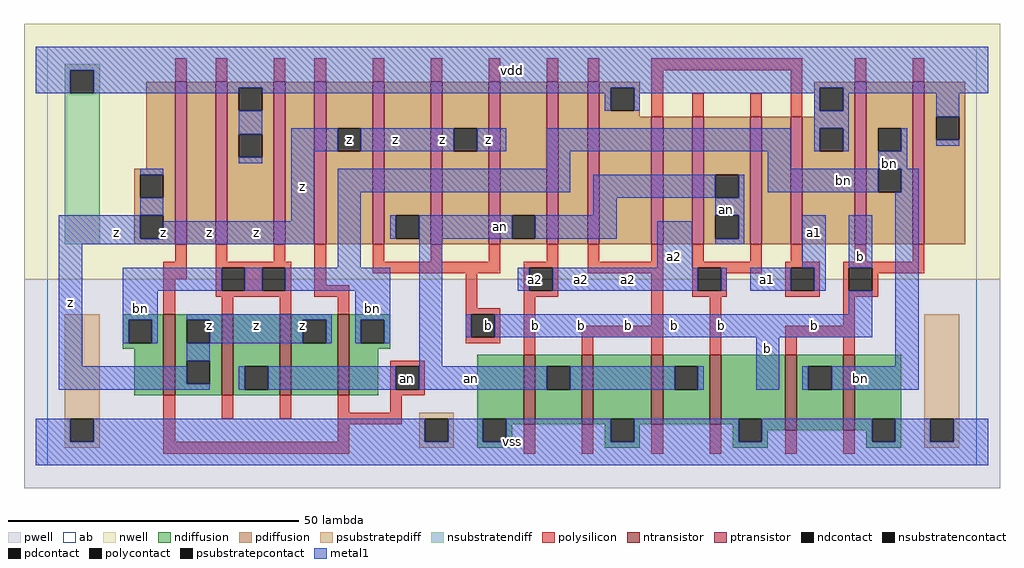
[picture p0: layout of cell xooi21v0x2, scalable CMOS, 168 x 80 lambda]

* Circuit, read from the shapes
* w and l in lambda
.subckt xooi21v0x2 a1 a2 an b bn vdd vss z
M1 z an bn vss nfet w=14 l=2 m=2
M2 an bn z vss nfet w=14 l=2 m=2
M3 an a2 vss vss nfet w=12 l=2 m=2
M4 vss a1 an vss nfet w=12 l=2 m=2
M5 bn b vss vss nfet w=13 l=2 m=2
M6 n1 an z vdd pfet w=28 l=2
M7 vdd bn n1 vdd pfet w=28 l=2
M8 n2 bn vdd vdd pfet w=28 l=2
M9 z an n2 vdd pfet w=28 l=2
M10 an b z vdd pfet w=28 l=2 m=3
M11 n3 a2 an vdd pfet w=28 l=2
M12 vdd a1 n3 vdd pfet w=28 l=2
M13 n4 a1 vdd vdd pfet w=22 l=2
M14 an a2 n4 vdd pfet w=22 l=2
M15 n5 a2 an vdd pfet w=22 l=2
M16 vdd a1 n5 vdd pfet w=22 l=2
M17 bn b vdd vdd pfet w=28 l=2 m=2
.ends

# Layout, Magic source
magic
tech scmos
<< ab >>
rect 0 0 160 72
<< pwell >>
rect -4 -4 164 32
<< nwell >>
rect -4 32 164 76
<< polysilicon >>
rect 22 66 24 70
rect 29 66 31 70
rect 39 66 41 70
rect 46 66 48 70
rect 56 66 58 70
rect 66 66 68 70
rect 76 66 78 70
rect 86 66 88 70
rect 93 66 95 70
rect 104 68 130 70
rect 104 60 106 68
rect 111 60 113 64
rect 121 60 123 64
rect 128 60 130 68
rect 139 66 141 70
rect 149 66 151 70
rect 22 35 24 38
rect 20 32 24 35
rect 29 35 31 38
rect 39 35 41 38
rect 29 34 42 35
rect 20 26 22 32
rect 29 30 30 34
rect 34 30 37 34
rect 41 30 42 34
rect 29 29 42 30
rect 46 31 48 38
rect 56 35 58 38
rect 66 35 68 38
rect 76 35 78 38
rect 86 35 88 38
rect 56 33 78 35
rect 82 34 88 35
rect 46 29 52 31
rect 30 26 32 29
rect 40 26 42 29
rect 50 26 52 29
rect 72 27 74 33
rect 82 30 83 34
rect 87 30 88 34
rect 93 35 95 38
rect 104 35 106 38
rect 93 33 106 35
rect 82 29 88 30
rect 72 26 78 27
rect 72 22 73 26
rect 77 22 78 26
rect 72 21 78 22
rect 82 19 84 29
rect 104 24 106 33
rect 111 35 113 38
rect 121 35 123 38
rect 128 35 130 38
rect 139 35 141 38
rect 149 35 151 38
rect 111 34 123 35
rect 111 30 112 34
rect 116 33 123 34
rect 127 34 133 35
rect 116 30 117 33
rect 111 29 117 30
rect 127 30 128 34
rect 132 30 133 34
rect 127 29 133 30
rect 137 34 151 35
rect 137 30 138 34
rect 142 33 151 34
rect 142 30 143 33
rect 137 29 143 30
rect 92 22 106 24
rect 92 19 94 22
rect 104 19 106 22
rect 114 19 116 29
rect 137 24 139 29
rect 127 22 139 24
rect 127 19 129 22
rect 137 19 139 22
rect 59 17 65 18
rect 59 13 60 17
rect 64 13 65 17
rect 59 12 65 13
rect 20 4 22 12
rect 30 8 32 12
rect 40 8 42 12
rect 50 9 52 12
rect 59 9 61 12
rect 50 7 61 9
rect 50 4 52 7
rect 20 2 52 4
rect 82 2 84 7
rect 92 2 94 7
rect 104 2 106 7
rect 114 2 116 7
rect 127 2 129 6
rect 137 2 139 6
<< ndiffusion >>
rect 13 25 20 26
rect 13 21 14 25
rect 18 21 20 25
rect 13 20 20 21
rect 15 12 20 20
rect 22 25 30 26
rect 22 21 24 25
rect 28 21 30 25
rect 22 18 30 21
rect 22 14 24 18
rect 28 14 30 18
rect 22 12 30 14
rect 32 17 40 26
rect 32 13 34 17
rect 38 13 40 17
rect 32 12 40 13
rect 42 25 50 26
rect 42 21 44 25
rect 48 21 50 25
rect 42 12 50 21
rect 52 25 59 26
rect 52 21 54 25
rect 58 21 59 25
rect 52 20 59 21
rect 52 12 57 20
rect 74 8 82 19
rect 74 4 75 8
rect 79 7 82 8
rect 84 17 92 19
rect 84 13 86 17
rect 90 13 92 17
rect 84 7 92 13
rect 94 8 104 19
rect 94 7 97 8
rect 79 4 80 7
rect 74 3 80 4
rect 96 4 97 7
rect 101 7 104 8
rect 106 17 114 19
rect 106 13 108 17
rect 112 13 114 17
rect 106 7 114 13
rect 116 8 127 19
rect 116 7 119 8
rect 101 4 102 7
rect 96 3 102 4
rect 118 4 119 7
rect 123 6 127 8
rect 129 17 137 19
rect 129 13 131 17
rect 135 13 137 17
rect 129 6 137 13
rect 139 8 147 19
rect 139 6 142 8
rect 123 4 124 6
rect 118 3 124 4
rect 141 4 142 6
rect 146 4 147 8
rect 141 3 147 4
<< pdiffusion >>
rect 17 51 22 66
rect 15 50 22 51
rect 15 46 16 50
rect 20 46 22 50
rect 15 43 22 46
rect 15 39 16 43
rect 20 39 22 43
rect 15 38 22 39
rect 24 38 29 66
rect 31 65 39 66
rect 31 61 33 65
rect 37 61 39 65
rect 31 57 39 61
rect 31 53 33 57
rect 37 53 39 57
rect 31 38 39 53
rect 41 38 46 66
rect 48 58 56 66
rect 48 54 50 58
rect 54 54 56 58
rect 48 38 56 54
rect 58 43 66 66
rect 58 39 60 43
rect 64 39 66 43
rect 58 38 66 39
rect 68 58 76 66
rect 68 54 70 58
rect 74 54 76 58
rect 68 38 76 54
rect 78 43 86 66
rect 78 39 80 43
rect 84 39 86 43
rect 78 38 86 39
rect 88 38 93 66
rect 95 65 102 66
rect 95 61 97 65
rect 101 61 102 65
rect 95 60 102 61
rect 132 65 139 66
rect 132 61 133 65
rect 137 61 139 65
rect 132 60 139 61
rect 95 38 104 60
rect 106 38 111 60
rect 113 50 121 60
rect 113 46 115 50
rect 119 46 121 50
rect 113 43 121 46
rect 113 39 115 43
rect 119 39 121 43
rect 113 38 121 39
rect 123 38 128 60
rect 130 58 139 60
rect 130 54 133 58
rect 137 54 139 58
rect 130 38 139 54
rect 141 58 149 66
rect 141 54 143 58
rect 147 54 149 58
rect 141 51 149 54
rect 141 47 143 51
rect 147 47 149 51
rect 141 38 149 47
rect 151 60 158 66
rect 151 56 153 60
rect 157 56 158 60
rect 151 38 158 56
<< metal1 >>
rect -2 68 162 72
rect -2 64 4 68
rect 8 65 162 68
rect 8 64 33 65
rect 37 64 97 65
rect 96 61 97 64
rect 101 64 133 65
rect 101 61 102 64
rect 132 61 133 64
rect 137 64 162 65
rect 137 61 138 64
rect 33 57 37 61
rect 132 58 138 61
rect 153 60 157 64
rect 33 52 37 53
rect 42 54 50 58
rect 54 54 70 58
rect 74 54 79 58
rect 86 54 128 58
rect 132 54 133 58
rect 137 54 138 58
rect 147 54 148 58
rect 153 55 157 56
rect 16 50 20 51
rect 16 43 20 46
rect 2 39 16 43
rect 42 42 46 54
rect 86 51 90 54
rect 20 39 46 42
rect 2 38 46 39
rect 50 47 90 51
rect 124 51 128 54
rect 143 51 148 54
rect 2 17 6 38
rect 50 34 54 47
rect 94 46 115 50
rect 119 46 120 50
rect 124 47 143 51
rect 147 47 150 51
rect 94 43 98 46
rect 59 39 60 43
rect 64 39 80 43
rect 84 39 98 43
rect 115 43 120 46
rect 13 30 30 34
rect 34 30 37 34
rect 41 30 59 34
rect 13 25 19 30
rect 13 21 14 25
rect 18 21 19 25
rect 24 25 49 26
rect 28 21 44 25
rect 48 21 49 25
rect 53 25 59 30
rect 53 21 54 25
rect 58 21 59 25
rect 24 18 28 21
rect 2 14 24 17
rect 64 17 68 39
rect 105 34 111 42
rect 119 39 120 43
rect 115 38 120 39
rect 130 34 134 43
rect 81 30 83 34
rect 87 30 112 34
rect 116 30 117 34
rect 121 30 128 34
rect 132 30 134 34
rect 138 34 142 43
rect 138 26 142 30
rect 72 22 73 26
rect 77 22 142 26
rect 2 13 28 14
rect 33 13 34 17
rect 38 13 60 17
rect 64 13 86 17
rect 90 13 108 17
rect 112 13 113 17
rect 122 13 126 22
rect 146 17 150 47
rect 130 13 131 17
rect 135 13 150 17
rect -2 4 4 8
rect 8 4 65 8
rect 69 4 75 8
rect 79 4 97 8
rect 101 4 119 8
rect 123 4 142 8
rect 146 4 152 8
rect 156 4 162 8
rect -2 0 162 4
<< ntransistor >>
rect 20 12 22 26
rect 30 12 32 26
rect 40 12 42 26
rect 50 12 52 26
rect 82 7 84 19
rect 92 7 94 19
rect 104 7 106 19
rect 114 7 116 19
rect 127 6 129 19
rect 137 6 139 19
<< ptransistor >>
rect 22 38 24 66
rect 29 38 31 66
rect 39 38 41 66
rect 46 38 48 66
rect 56 38 58 66
rect 66 38 68 66
rect 76 38 78 66
rect 86 38 88 66
rect 93 38 95 66
rect 104 38 106 60
rect 111 38 113 60
rect 121 38 123 60
rect 128 38 130 60
rect 139 38 141 66
rect 149 38 151 66
<< polycontact >>
rect 30 30 34 34
rect 37 30 41 34
rect 83 30 87 34
rect 73 22 77 26
rect 112 30 116 34
rect 128 30 132 34
rect 138 30 142 34
rect 60 13 64 17
<< ndcontact >>
rect 14 21 18 25
rect 24 21 28 25
rect 24 14 28 18
rect 34 13 38 17
rect 44 21 48 25
rect 54 21 58 25
rect 75 4 79 8
rect 86 13 90 17
rect 97 4 101 8
rect 108 13 112 17
rect 119 4 123 8
rect 131 13 135 17
rect 142 4 146 8
<< pdcontact >>
rect 16 46 20 50
rect 16 39 20 43
rect 33 61 37 65
rect 33 53 37 57
rect 50 54 54 58
rect 60 39 64 43
rect 70 54 74 58
rect 80 39 84 43
rect 97 61 101 65
rect 133 61 137 65
rect 115 46 119 50
rect 115 39 119 43
rect 133 54 137 58
rect 143 54 147 58
rect 143 47 147 51
rect 153 56 157 60
<< psubstratepcontact >>
rect 4 4 8 8
rect 65 4 69 8
rect 152 4 156 8
<< nsubstratencontact >>
rect 4 64 8 68
<< psubstratepdiff >>
rect 3 8 9 26
rect 3 4 4 8
rect 8 4 9 8
rect 3 3 9 4
rect 64 8 70 9
rect 64 4 65 8
rect 69 4 70 8
rect 64 3 70 4
rect 151 8 157 26
rect 151 4 152 8
rect 156 4 157 8
rect 151 3 157 4
<< nsubstratendiff >>
rect 3 68 9 69
rect 3 64 4 68
rect 8 64 9 68
rect 3 38 9 64
<< labels >>
rlabel polycontact 62 15 62 15 6 an
rlabel metal1 4 28 4 28 6 z
rlabel metal1 16 27 16 27 6 bn
rlabel metal1 12 40 12 40 6 z
rlabel metal1 20 40 20 40 6 z
rlabel metal1 28 24 28 24 6 z
rlabel metal1 36 24 36 24 6 z
rlabel metal1 44 24 44 24 6 z
rlabel metal1 56 27 56 27 6 bn
rlabel metal1 28 40 28 40 6 z
rlabel metal1 36 40 36 40 6 z
rlabel metal1 44 48 44 48 6 z
rlabel pdcontact 52 56 52 56 6 z
rlabel metal1 60 56 60 56 6 z
rlabel metal1 80 4 80 4 6 vss
rlabel polycontact 76 24 76 24 6 b
rlabel metal1 84 24 84 24 6 b
rlabel metal1 92 24 92 24 6 b
rlabel polycontact 84 32 84 32 6 a2
rlabel metal1 92 32 92 32 6 a2
rlabel metal1 68 56 68 56 6 z
rlabel metal1 76 56 76 56 6 z
rlabel metal1 80 68 80 68 6 vdd
rlabel metal1 73 15 73 15 6 an
rlabel metal1 100 24 100 24 6 b
rlabel metal1 108 24 108 24 6 b
rlabel metal1 116 24 116 24 6 b
rlabel metal1 124 20 124 20 6 b
rlabel metal1 124 32 124 32 6 a1
rlabel metal1 100 32 100 32 6 a2
rlabel metal1 108 36 108 36 6 a2
rlabel metal1 117 44 117 44 6 an
rlabel metal1 78 41 78 41 6 an
rlabel metal1 140 15 140 15 6 bn
rlabel metal1 132 24 132 24 6 b
rlabel metal1 132 40 132 40 6 a1
rlabel metal1 140 36 140 36 6 b
rlabel metal1 137 49 137 49 6 bn
rlabel metal1 145 52 145 52 6 bn
<< end >>
